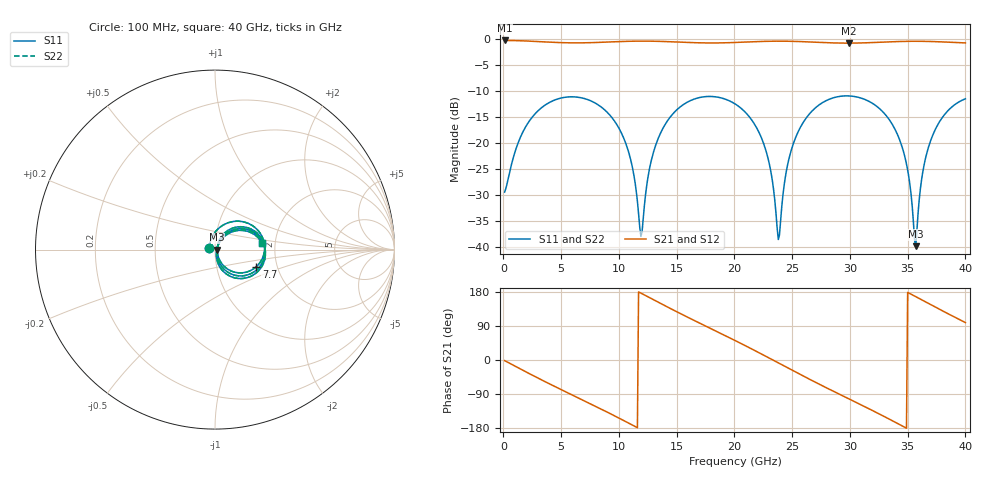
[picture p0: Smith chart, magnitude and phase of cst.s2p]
! thru_BV_ts_refinout2_in: 2×thru F.Cu, 8 mm
! stackup: as the board case
! ports: 1 near, 2 far
! CST Studio Suite 2025.5 Release from 2025-05-30, time domain (FIT, hexahedral, PBA), 184320 mesh cells, 36 s
! mesh: {'lpw': 20, 'lpb': 20, 'minstep': 0.0, 'ratio': 20}; ports: port 1 (face); port 2 (face)
! interpolated from CST's 1001 samples to the case grid
# Hz S RI R 50
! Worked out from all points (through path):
!   400 points, 100 MHz to 40 GHz, reference 50 ohm
!   highest |S21| = -0.30 dB at 100 MHz (marker M1); lowest = -0.8 dB at 29.9 GHz (marker M2)
!   group delay of S21, straight-line fit = 43 ps
!   lowest |S11| = -39.9 dB at 35.7 GHz (marker M3), VSWR 1.02, Z = 51 + j0.015 ohm
!   |S11| at or under -10 dB: start of sweep to end of sweep
!   |S22| runs from -39.9 to -11.0 dB; largest |S21 - S12| = 4.5e-07
!   S11 on the Smith chart (normalised r, x): 100 MHz: 0.94, +0.02; 7.7 GHz: 1.56, -0.32; 40 GHz: 1.70, +0.14
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1e8  -0.0324 0.00851  0.9658 -0.0273  0.9658 -0.0273  -0.0324 0.00851
2.5e9  0.0872 0.1538  0.7264 -0.6106  0.7264 -0.6106  0.0872 0.1538
6.8e9  0.2664 -0.0435  -0.2325 -0.8864  -0.2325 -0.8864  0.2664 -0.0435
7.7e9  0.23 -0.0956  -0.4331 -0.8128  -0.4331 -0.8128  0.23 -0.0956
1.06e10  0.045 -0.087  -0.9044 -0.2811  -0.9044 -0.2811  0.045 -0.087
1.13e10  0.0196 -0.0441  -0.9455 -0.1015  -0.9455 -0.1015  0.0196 -0.0441
1.19e10  0.0124 -0.00164  -0.9506 0.0577  -0.9506 0.0577  0.0124 -0.00164
1.26e10  0.0224 0.0478  -0.9206 0.2413  -0.9206 0.2413  0.0224 0.0478
1.34e10  0.056 0.0946  -0.8411 0.4371  -0.8411 0.4371  0.056 0.0946
1.67e10  0.2608 0.0589  -0.1839 0.8999  -0.1839 0.8999  0.2608 0.0589
2.01e10  0.1899 -0.1382  0.5846 0.7159  0.5846 0.7159  0.1899 -0.1382
2.27e10  0.0285 -0.0811  0.9328 0.1664  0.9328 0.1664  0.0285 -0.0811
2.38e10  0.0113 -0.00307  0.9428 -0.1255  0.9428 -0.1255  0.0113 -0.00306
2.48e10  0.0383 0.0654  0.8688 -0.3815  0.8688 -0.3815  0.0383 0.0654
2.67e10  0.1641 0.1155  0.55 -0.7534  0.55 -0.7534  0.1641 0.1155
2.99e10  0.2769 -0.0555  -0.1951 -0.8895  -0.1951 -0.8895  0.2769 -0.0555
3.34e10  0.0805 -0.1466  -0.8546 -0.3831  -0.8546 -0.3831  0.0805 -0.1466
3.49e10  0.0117 -0.0612  -0.9474 -0.00141  -0.9474 -0.00141  0.0117 -0.0612
3.57e10  0.0101 0.000147  -0.9251 0.212  -0.9251 0.212  0.0101 0.000147
3.62e10  0.0235 0.0367  -0.8851 0.3405  -0.8851 0.3405  0.0235 0.0367
3.69e10  0.0586 0.0784  -0.798 0.5063  -0.798 0.5063  0.0586 0.0784
4e10  0.2623 0.0374  -0.1402 0.9039  -0.1402 0.9039  0.2623 0.0374
